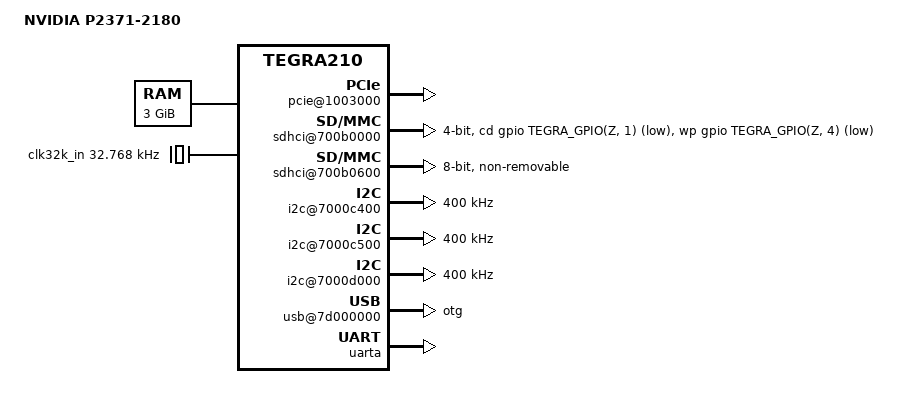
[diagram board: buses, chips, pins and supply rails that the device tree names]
/dts-v1/;

#include "tegra210.dtsi"

/ {
	model = "NVIDIA P2371-2180";
	compatible = "nvidia,p2371-2180", "nvidia,tegra210";

	chosen {
		stdout-path = &uarta;
	};

	aliases {
		i2c0 = "/i2c@7000d000";
		i2c2 = "/i2c@7000c400";
		i2c3 = "/i2c@7000c500";
		mmc0 = "/sdhci@700b0600";
		mmc1 = "/sdhci@700b0000";
		usb0 = "/usb@7d000000";
	};

	memory {
		reg = <0x0 0x80000000 0x0 0xc0000000>;
	};

	pcie@1003000 {
		status = "okay";

		pci@1,0 {
			status = "okay";
		};

		pci@2,0 {
			status = "okay";
		};
	};

	padctl@7009f000 {
		pinctrl-0 = <&padctl_default>;
		pinctrl-names = "default";

		padctl_default: pinmux {
			xusb {
				nvidia,lanes = "otg-1", "otg-2";
				nvidia,function = "xusb";
				nvidia,iddq = <0>;
			};

			usb3 {
				nvidia,lanes = "pcie-5", "pcie-6";
				nvidia,function = "usb3";
				nvidia,iddq = <0>;
			};

			pcie-x1 {
				nvidia,lanes = "pcie-0";
				nvidia,function = "pcie-x1";
				nvidia,iddq = <0>;
			};

			pcie-x4 {
				nvidia,lanes = "pcie-1", "pcie-2",
					       "pcie-3", "pcie-4";
				nvidia,function = "pcie-x4";
				nvidia,iddq = <0>;
			};

			sata {
				nvidia,lanes = "sata-0";
				nvidia,function = "sata";
				nvidia,iddq = <0>;
			};
		};
	};

	sdhci@700b0000 {
		status = "okay";
		cd-gpios = <&gpio TEGRA_GPIO(Z, 1) GPIO_ACTIVE_LOW>;
		power-gpios = <&gpio TEGRA_GPIO(Z, 3) GPIO_ACTIVE_HIGH>;
		wp-gpios = <&gpio TEGRA_GPIO(Z, 4) GPIO_ACTIVE_LOW>;
		bus-width = <4>;
	};

	sdhci@700b0600 {
		status = "okay";
		bus-width = <8>;
		non-removable;
	};

	i2c@7000c400 {
		status = "okay";
		clock-frequency = <400000>;
	};

	i2c@7000c500 {
		status = "okay";
		clock-frequency = <400000>;
	};

	i2c@7000d000 {
		status = "okay";
		clock-frequency = <400000>;
	};

	usb@7d000000 {
		status = "okay";
		dr_mode = "otg";
		nvidia,vbus-gpio = <&gpio TEGRA_GPIO(CC, 4) GPIO_ACTIVE_HIGH>;
	};

	clocks {
		compatible = "simple-bus";
		#address-cells = <1>;
		#size-cells = <0>;

		clk32k_in: clock@0 {
			compatible = "fixed-clock";
			reg = <0>;
			#clock-cells = <0>;
			clock-frequency = <32768>;
		};
	};
};

&uarta {
	status = "okay";
};
